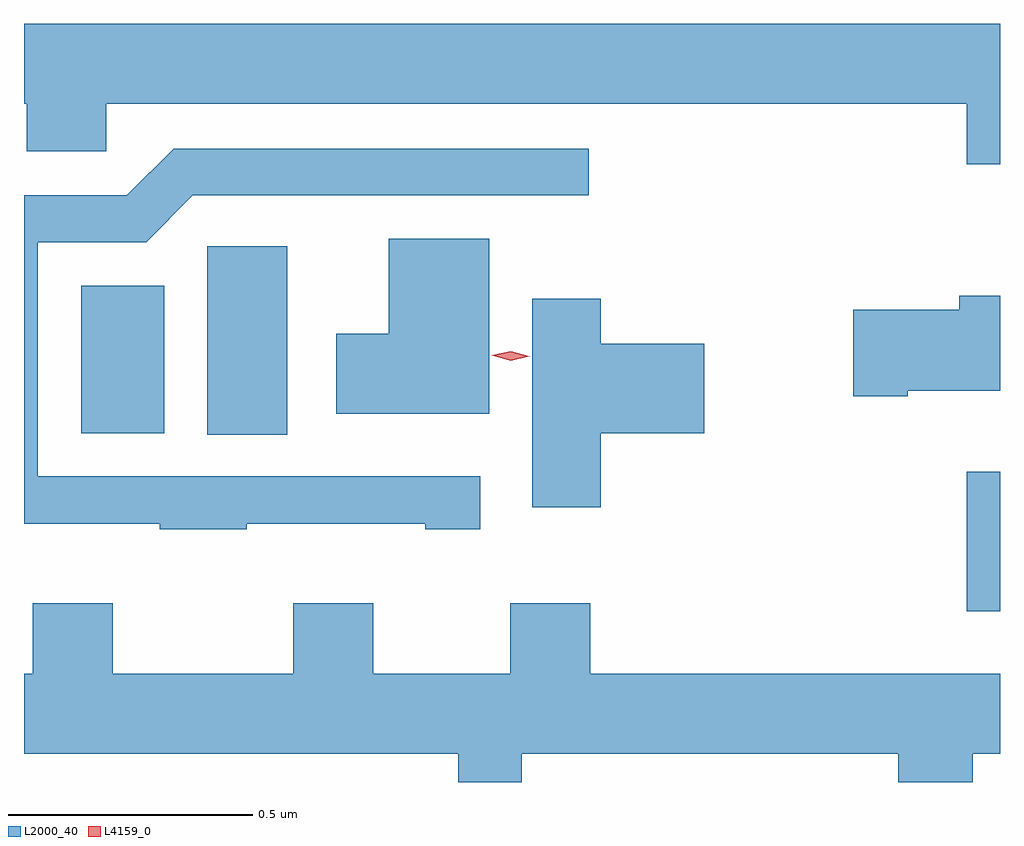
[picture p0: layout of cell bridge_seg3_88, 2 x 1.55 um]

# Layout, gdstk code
import gdstk
lib = gdstk.Library(unit=1e-6, precision=1e-09)
def R(c, l, rs):  # rectangles x0, y0, x1, y1
    for r in rs: c.add(gdstk.rectangle(r[:2], r[2:], *l))
def P(c, l, *ps):  # polygons
    for p in ps: c.add(gdstk.Polygon(p, *l))
L2000_40 = (2000, 40)
L4159_0 = (4159, 0)

bridge_seg3_88 = lib.new_cell('bridge_seg3_88')
R(bridge_seg3_88, L2000_40, [(426.215,693.216,426.283,693.502), (424.658,693.577,424.822,693.964), (424.4,693.581,424.57,693.883)])
P(bridge_seg3_88, L2000_40, [(426.283,694.42),(424.283,694.42),(424.283,694.256),(424.289,694.256),(424.289,694.158),(424.452,694.158),(424.452,694.256),(426.215,694.256),(426.215,694.132),(426.283,694.132)],
  [(424.739,693.395),(425.105,693.395),(425.105,693.384),(425.218,693.384),(425.218,693.492),(424.311,693.492),(424.311,693.972),(424.533,693.972),(424.629,694.068),(425.44,694.068),(425.44,694.164),(424.59,694.164),(424.494,694.068),(424.283,694.068),(424.283,693.395),(424.561,693.395),(424.561,693.384),(424.739,693.384)],
  [(425.236,693.979),(425.03,693.979),(425.03,693.784),(424.923,693.784),(424.923,693.62),(425.236,693.62)],
  [(426.094,693.668),(426.283,693.668),(426.283,693.862),(426.2,693.862),(426.2,693.834),(425.982,693.834),(425.982,693.656),(426.094,693.656)],
  [(425.465,693.581),(425.677,693.581),(425.677,693.764),(425.465,693.764),(425.465,693.856),(425.324,693.856),(425.324,693.429),(425.465,693.429)],
  [(425.303,692.924),(426.074,692.924),(426.074,692.865),(426.227,692.865),(426.227,692.924),(426.283,692.924),(426.283,693.088),(425.443,693.088),(425.443,693.232),(425.279,693.232),(425.279,693.088),(424.999,693.088),(424.999,693.232),(424.835,693.232),(424.835,693.088),(424.465,693.088),(424.465,693.232),(424.301,693.232),(424.301,693.088),(424.283,693.088),(424.283,692.924),(425.173,692.924),(425.173,692.865),(425.303,692.865)])
P(bridge_seg3_88, L4159_0, [(425.28,693.729),(425.241,693.74),(425.241,693.74),(425.241,693.74),(425.28,693.749),(425.318,693.738),(425.319,693.738),(425.318,693.738)])

lib.write_gds('bridge_seg3_88.gds')
